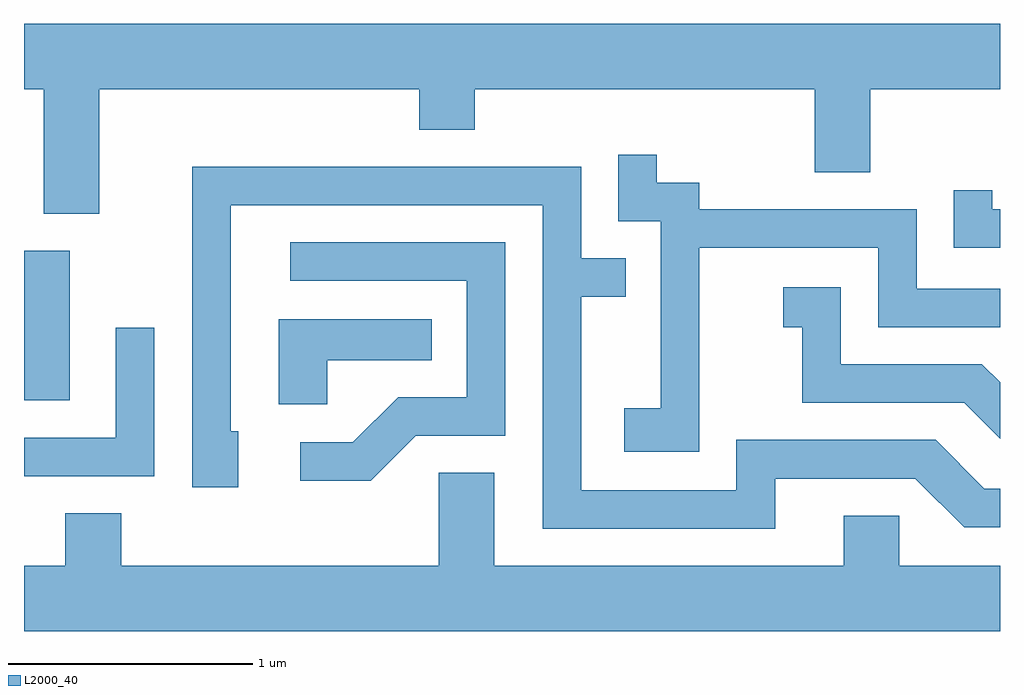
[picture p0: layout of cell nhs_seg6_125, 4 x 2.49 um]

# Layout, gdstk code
import gdstk
lib = gdstk.Library(unit=1e-6, precision=1e-09)
def R(c, l, rs):  # rectangles x0, y0, x1, y1
    for r in rs: c.add(gdstk.rectangle(r[:2], r[2:], *l))
def P(c, l, *ps):  # polygons
    for p in ps: c.add(gdstk.Polygon(p, *l))
L2000_40 = (2000, 40)

nhs_seg6_125 = lib.new_cell('nhs_seg6_125')
R(nhs_seg6_125, L2000_40, [(187.611,1646.441,187.799,1647.054)])
P(nhs_seg6_125, L2000_40, [(187.919,1647.716),(189.231,1647.716),(189.231,1647.551),(189.459,1647.551),(189.459,1647.716),(190.851,1647.716),(190.851,1647.376),(191.079,1647.376),(191.079,1647.716),(191.611,1647.716),(191.611,1647.984),(187.611,1647.984),(187.611,1647.716),(187.691,1647.716),(187.691,1647.206),(187.919,1647.206)],
  [(190.379,1647.066),(191.111,1647.066),(191.111,1646.741),(191.611,1646.741),(191.611,1646.899),(191.269,1646.899),(191.269,1647.224),(190.379,1647.224),(190.379,1647.334),(190.204,1647.334),(190.204,1647.448),(190.046,1647.448),(190.046,1647.176),(190.221,1647.176),(190.221,1646.409),(190.071,1646.409),(190.071,1646.231),(190.379,1646.231)],
  [(190.689,1646.121),(191.264,1646.121),(191.464,1645.921),(191.611,1645.921),(191.611,1646.079),(191.547,1646.079),(191.347,1646.279),(190.531,1646.279),(190.531,1646.074),(189.894,1646.074),(189.894,1646.866),(190.078,1646.866),(190.078,1647.024),(189.894,1647.024),(189.894,1647.399),(188.301,1647.399),(188.301,1646.086),(188.489,1646.086),(188.489,1646.314),(188.459,1646.314),(188.459,1647.241),(189.736,1647.241),(189.736,1645.916),(190.689,1645.916)],
  [(191.611,1647.224),(191.579,1647.224),(191.579,1647.303),(191.421,1647.303),(191.421,1647.066),(191.611,1647.066)],
  [(189.217,1646.296),(189.584,1646.296),(189.584,1647.089),(188.703,1647.089),(188.703,1646.931),(189.426,1646.931),(189.426,1646.454),(189.144,1646.454),(188.959,1646.269),(188.743,1646.269),(188.743,1646.111),(189.032,1646.111)],
  [(191.611,1646.515),(191.537,1646.589),(190.959,1646.589),(190.959,1646.904),(190.723,1646.904),(190.723,1646.741),(190.801,1646.741),(190.801,1646.431),(191.464,1646.431),(191.611,1646.284)],
  [(188.854,1646.606),(189.283,1646.606),(189.283,1646.774),(188.656,1646.774),(188.656,1646.426),(188.854,1646.426)],
  [(188.144,1646.738),(187.986,1646.738),(187.986,1646.289),(187.611,1646.289),(187.611,1646.131),(188.144,1646.131)],
  [(191.611,1645.764),(191.199,1645.764),(191.199,1645.969),(190.971,1645.969),(190.971,1645.764),(189.539,1645.764),(189.539,1646.144),(189.311,1646.144),(189.311,1645.764),(188.009,1645.764),(188.009,1645.979),(187.781,1645.979),(187.781,1645.764),(187.611,1645.764),(187.611,1645.496),(191.611,1645.496)])

lib.write_gds('nhs_seg6_125.gds')
